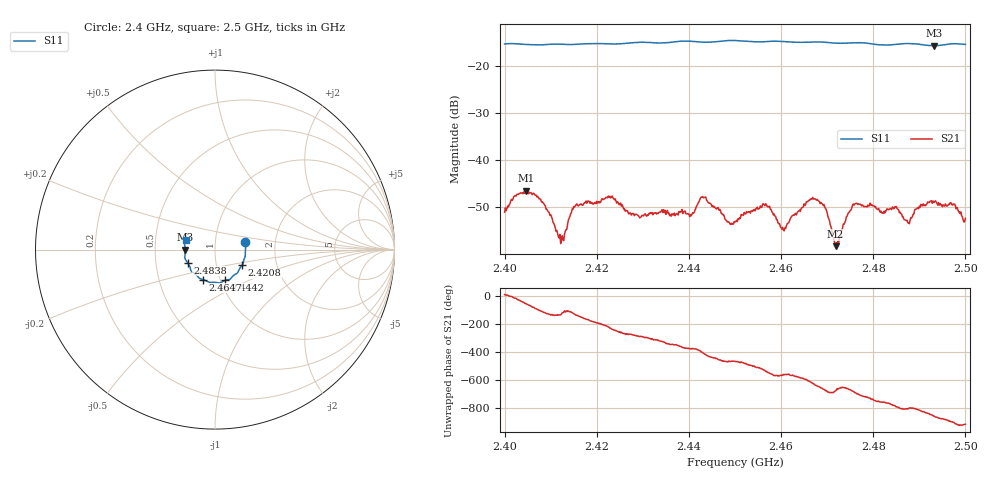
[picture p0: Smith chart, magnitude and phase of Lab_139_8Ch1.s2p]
# Hz S RI R 50
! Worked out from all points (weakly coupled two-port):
!   601 points, 2.4 GHz to 2.5 GHz, reference 50 ohm
!   highest |S21| = -46.45 dB at 2.4047 GHz (marker M1); lowest = -58.2 dB at 2.4718 GHz (marker M2)
!   lowest |S11| = -15.6 dB at 2.4932 GHz (marker M3), VSWR 1.40, Z = 35.8 - j0.083 ohm
!   |S11| at or under -10 dB: start of sweep to end of sweep
!   S12 and S22 are empty: the file has one direction only
!   S11 on the Smith chart (normalised r, x): 2.4 GHz: 1.40, +0.12; 2.4208 GHz: 1.33, -0.24; 2.4442 GHz: 1.05, -0.37; 2.4647 GHz: 0.83, -0.29; 2.4838 GHz: 0.73, -0.11; 2.5 GHz: 0.72, +0.08
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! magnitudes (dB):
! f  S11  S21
! 2.4 GHz  -15.2  -51.0
! 2.4047 GHz  -15.4  -46.5
! 2.4083 GHz  -15.4  -49.0
! 2.4123 GHz  -15.3  -56.9
! 2.4148 GHz  -15.4  -50.4
! 2.4167 GHz  -15.3  -49.3
! 2.4208 GHz  -15.2  -49.0
! 2.4333 GHz  -15.0  -51.3
! 2.4442 GHz  -14.9  -49.0
! 2.45 GHz  -14.5  -53.1
! 2.4565 GHz  -14.8  -49.6
! 2.4605 GHz  -14.7  -54.8
! 2.4647 GHz  -14.9  -50.0
! 2.4667 GHz  -14.8  -48.3
! 2.4695 GHz  -14.9  -50.0
! 2.4718 GHz  -15.1  -58.2
! 2.476 GHz  -15.0  -49.3
! 2.4833 GHz  -15.5  -50.5
! 2.4838 GHz  -15.4  -50.2
! 2.4875 GHz  -15.2  -53.3
! 2.4932 GHz  -15.6  -48.9
! 2.5 GHz  -15.3  -52.3
